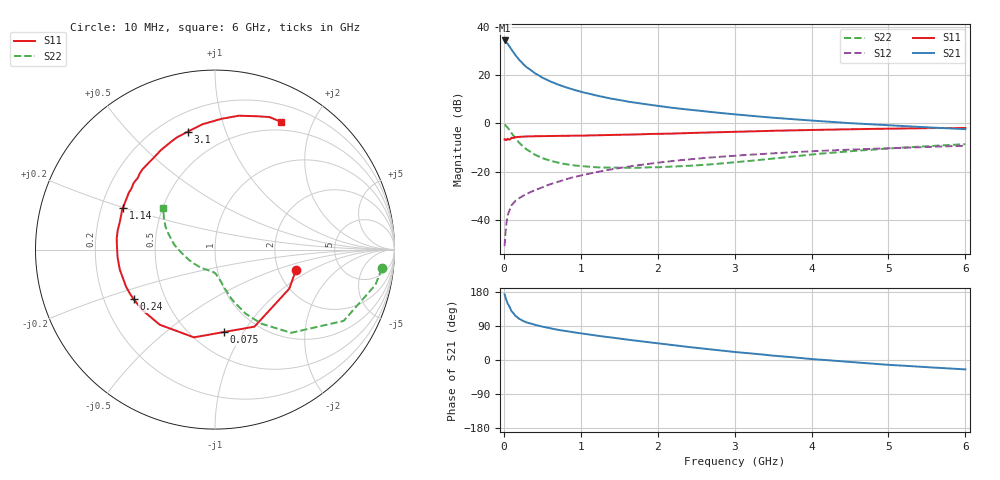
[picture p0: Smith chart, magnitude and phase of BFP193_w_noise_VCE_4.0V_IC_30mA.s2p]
! Infineon Technologies  Discrete & RF Semiconductors
! BFP193
! VCE = 4.0 V,  IC =  30 mA
! Common Emitter S-Parameters:  Jan 2016
# GHz  S  MA  R  50
!  f  S11  S21  S12  S22
! GHz  MAG  ANG  MAG  ANG  MAG  ANG  MAG  ANG
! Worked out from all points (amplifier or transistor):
!   210 points, 10 MHz to 6 GHz, reference 50 ohm
!   highest |S21| = 34.2 dB at 10 MHz (marker M1)
!   |S21| within 3 dB of that: start of sweep to 82.96 MHz
!   unconditionally stable (mu >= 1): 674.6 MHz to 3.876 GHz
!   at 185 MHz: K = 0.58, MSG = 29.0 dB, |S12| = -31.2 dB
!   at 1.52 GHz: K = 1.07, MAG = 12.4 dB, |S12| = -18.4 dB
!   at 6 GHz: K = 0.94, MSG = 3.4 dB, |S12| = -9.3 dB
!   lowest NFmin = 1.90 dB at 450 MHz
!   S11 on the Smith chart (normalised r, x): 10 MHz: 2.49, -0.73; 75 MHz: 0.71, -0.83; 240 MHz: 0.33, -0.25; 1.14 GHz: 0.29, +0.20; 3.1 GHz: 0.31, +0.75; 6 GHz: 0.40, +1.58
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0.01  0.4652 -14.2  51.5 173.3  0.0029 79.4  0.9358 -6.4
0.02  0.4676 -27.8  49.55 165.5  0.0051 82.7  0.9152 -12.4
0.05  0.4823 -62.9  43.91 148.7  0.0126 71.3  0.8195 -29.0
0.075  0.462 -83.6  38.09 140.1  0.0163 63.3  0.7149 -37.0
0.1  0.5028 -103.5  33.42 128.8  0.0202 58.4  0.6289 -47.5
0.15  0.5195 -126.3  25.55 116.4  0.025 53.0  0.4875 -57.9
0.2  0.5269 -140.3  20.48 108.6  0.0286 53.4  0.396 -64.4
0.24  0.5306 -148.7  17.52 104.2  0.0312 53.2  0.3415 -67.7
0.3  0.5369 -157.3  14.27 98.8  0.035 54.7  0.2868 -71.7
0.4  0.5419 -168.0  10.95 92.9  0.0415 56.8  0.2266 -75.6
0.5  0.5446 -175.3  8.794 88.0  0.0474 58.7  0.1912 -78.4
0.6  0.5467 178.3  7.385 83.7  0.0551 60.4  0.1696 -81.0
0.7  0.5511 173.5  6.367 79.7  0.0615 60.7  0.1544 -83.3
0.82  0.5522 168.0  5.46 75.9  0.0707 60.5  0.142 -86.1
1.02  0.5568 159.8  4.412 69.8  0.085 60.3  0.1301 -90.4
1.14  0.5634 155.6  3.966 66.3  0.0935 59.8  0.1257 -94.0
1.6  0.5856 140.7  2.831 53.9  0.1266 55.8  0.1209 -107.9
2.02  0.6064 128.9  2.265 43.6  0.1552 51.1  0.1241 -122.5
3.1  0.6743 103.1  1.484 19.4  0.2196 37.9  0.1619 -162.4
4.1  0.7344 85.6  1.113 1.1  0.2692 26.3  0.235 171.0
5.1  0.7796 72.3  0.896 -13.9  0.3099 15.2  0.3093 153.7
6  0.8012 62.5  0.758 -24.8  0.3437 5.8  0.3711 140.9
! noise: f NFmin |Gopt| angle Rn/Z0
0.45  1.9  0.4  180  0.09
0.9  1.95  0.43  -173  0.11
1.8  2.4  0.58  -144  0.24
